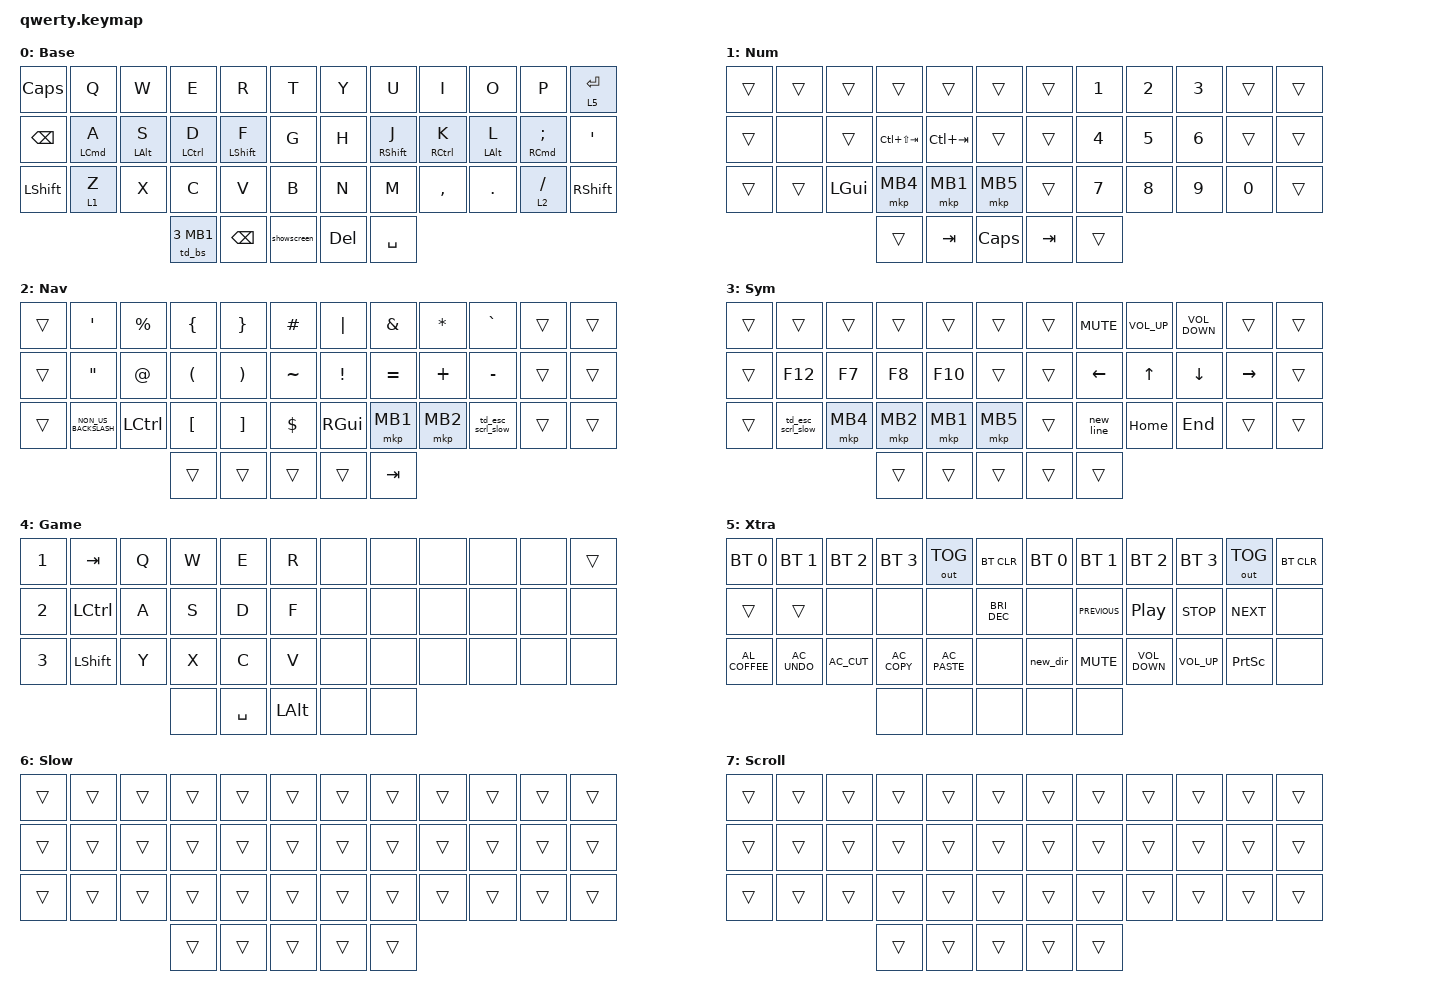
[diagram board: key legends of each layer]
/* upstream bindings and behaviors */
#include <behaviors.dtsi>
#include <dt-bindings/zmk/bt.h>
#include <dt-bindings/zmk/keys.h>
#include <dt-bindings/zmk/mouse.h>
#include <dt-bindings/zmk/outputs.h>
#include <behaviors/mouse_keys.dtsi>
#include <dt-bindings/zmk/ext_power.h>

/* local overlays */
#include "keymap_features/macros.dtsi"
#include "keymap_features/behaviors.dtsi"
#include "keymap_features/combos.dtsi"

/ {
/* --- KEYMAP CONFIG --- */
// ╭──────┬──────┬──────┬──────┬──────┬──────╮  ╭──────┬──────┬──────┬──────┬──────┬──────╮
//    00     01     02     03    04      05        06     07     08     09     10     11
// ├──────┼──────┼──────┼──────┼──────┼──────┤  ├──────┼──────┼──────┼──────┼──────┼──────┤
//    12     13     14     15    16      17        18     19     20     21     22     23
// ├──────┼──────┼──────┼──────┼──────┼──────┤  ├──────┼──────┼──────┼──────┼──────┼──────┤
//    24     25     26     27    28      29        30     31     32     33     34     35
// ╰──────┴──────┴──────┼──────┼──────┼──────┤  ├──────┼──────┼──────┴──────┴──────┴──────╯
//                         36     37     38        39     40
//                      ╰──────┴──────┴──────╯  ╰──────┴──────╯
// #define BASE    0
// #define NUM     1
// #define NAV     2
// #define SYM     3
// #define GAME    4
// #define EXTRAS  5
// #define SLOW    6
// #define SCROLL  7

    keymap {
        compatible = "zmk,keymap";
        BASE {
            display-name = "Base";
            bindings = <
// ╭───────────────┬────────────────┬────────────────┬─────────────────┬─────────────────┬──────╮  ╭──────┬──────────────────┬──────────────────┬─────────────────┬────────────────────────┬─────────────╮
    &kp CAPSLOCK &kp Q            &kp W            &kp E             &kp R             &kp T      &kp Y       &kp U               &kp I              &kp O               &kp P              &lt 5 ENTER
// ├───────────────┼────────────────┼────────────────┼─────────────────┼─────────────────┼──────┤  ├──────┼──────────────────┼──────────────────┼─────────────────┼────────────────────────┼─────────────┤
    &kp BACKSPACE   &ht_left LCMD A  &ht_left LALT S  &ht_left LCTRL D  &ht_left  LSHFT F  &kp G    &kp H   &ht_right RSHFT J  &ht_right RCTRL K  &ht_right LALT L  &ht_right RCMD SEMICOLON   &kp SQT
// ├───────────────┼────────────────┼────────────────┼─────────────────┼─────────────────┼──────┤  ├──────┼──────────────────┼──────────────────┼─────────────────┼────────────────────────┼─────────────┤
    &kp  LSHFT        &lt 1 Z           &kp X            &kp C            &kp V             &kp B    &kp N    &kp M              &kp COMMA    &kp PERIOD  &lt 2 SLASH            &kp RSHFT
// ╰───────────────┴────────────────┴────────────────┼─────────────────┼─────────────────┼──────┤  ├──────┼──────────────────┼──────────────────┴─────────────────┴────────────────────────┴─────────────╯
                                                             &td_bs 3 MB1 &kp BACKSPACE  &showscreen     &kp DELETE  &kp SPACE
                                                         // ╰──────────────────┴─────────┴──────╯  ╰──────────┴──────────────╯
            >;
        };

        NUM {
            display-name = "Num";
            bindings = <
    &trans    &trans  &trans        &trans           &trans        &trans         &trans   &kp NUMBER_1  &kp NUMBER_2  &kp NUMBER_3  &trans  &trans
    &trans    &none   &trans        &kp LC(LS(TAB))  &kp LC(TAB)   &trans         &trans   &kp NUMBER_4  &kp N5        &kp NUMBER_6  &trans  &trans
    &trans    &trans  &kp LEFT_GUI  &mkp MB4         &mkp MB1      &mkp MB5       &trans   &kp N7        &kp N8        &kp N9        &kp NUMBER_0  &trans
                                    &trans   &kp TAB       &kp CAPSLOCK           &kp TAB    &trans  
            >;
        };

        NAV {
            display-name = "Nav";
            bindings = <

     &trans   &kp SQT     &kp PERCENT  &kp LEFT_BRACE        &kp RIGHT_BRACE        &kp HASH                &kp PIPE         &kp AMPERSAND  &kp ASTERISK  &kp GRAVE      &trans  &trans
     &trans   &kp DQT     &kp AT_SIGN  &kp LEFT_PARENTHESIS  &kp RIGHT_PARENTHESIS  &kp TILDE               &kp EXCLAMATION  &kp EQUAL      &kp PLUS      &kp MINUS      &trans  &trans
     &trans   &kp NON_US_BACKSLASH  &kp LCTRL    &kp LEFT_BRACKET      &kp RIGHT_BRACKET    &kp DOLLAR      &kp RIGHT_GUI    &mkp MB1       &mkp MB2   &td_esc_scrl_slow &trans &trans
                                           &trans                &trans                 &trans              &trans  &kp TAB 
            >;
        };

        SYM {
            display-name = "Sym";
            bindings = <
     &trans  &trans   &trans  &trans  &trans   &trans      &trans  &kp K_MUTE  &kp C_VOLUME_UP  &kp C_VOLUME_DOWN  &trans   &trans
     &trans  &kp F12  &kp F7  &kp F8  &kp F10  &trans      &trans  &kp LEFT    &kp UP_ARROW     &kp DOWN_ARROW     &kp RIGHT  &trans
     &trans  &td_esc_scrl_slow  &mkp MB4    &mkp MB2  &mkp MB1  &mkp MB5      &trans  &new_line   &kp HOME         &kp END            &trans     &trans
                         &trans  &trans   &trans    &trans  &trans      
            >;
        };

        GAME {
            display-name = "Game";
            bindings = <
&kp N1  &kp TAB    &kp Q  &kp W   &kp E      &kp R           &none  &none  &none  &none  &none  &trans
&kp N2  &kp LCTRL  &kp A  &kp S   &kp D      &kp F           &none  &none  &none  &none  &none  &none
&kp N3  &kp LSHFT  &kp Y  &kp X   &kp C      &kp V           &none  &none  &none  &none  &none  &none
                          &none   &kp SPACE  &kp LEFT_ALT    &none  &none
            >;
        };

        EXTRAS {
            display-name = "Xtra";
            bindings = <
&bt BT_SEL 0  &bt BT_SEL 1    &bt BT_SEL 2       &bt BT_SEL 3  &out OUT_TOG         &bt BT_CLR    &bt BT_SEL 0  &bt BT_SEL 1    &bt BT_SEL 2       &bt BT_SEL 3  &out OUT_TOG         &bt BT_CLR
&trans       &trans           &none           &none           &none           &kp C_BRIGHTNESS_DEC    &none         &kp C_PREVIOUS  &kp C_PLAY_PAUSE   &kp C_STOP    &kp C_NEXT           &none
&kp C_AL_COFFEE   &kp C_AC_UNDO   &kp C_AC_CUT    &kp C_AC_COPY   &kp C_AC_PASTE  &none                   &new_dir      &kp K_MUTE      &kp C_VOLUME_DOWN  &kp C_VOLUME_UP   &kp PRINTSCREEN  &none
                                                                                   &none  &none  &none    &none         &none
            >;
        };

        SLOW {
            display-name = "Slow";
            bindings = <
&trans    &trans    &trans    &trans    &trans    &trans    &trans    &trans    &trans    &trans    &trans    &trans
&trans    &trans    &trans    &trans    &trans    &trans    &trans    &trans    &trans    &trans    &trans    &trans
&trans    &trans    &trans    &trans    &trans    &trans    &trans    &trans    &trans    &trans    &trans    &trans
                              &trans    &trans    &trans    &trans    &trans
            >;
        };

        SCROLL {
            display-name = "Scroll";
            bindings = <
&trans    &trans    &trans    &trans    &trans    &trans    &trans    &trans    &trans    &trans    &trans    &trans
&trans    &trans    &trans    &trans    &trans    &trans    &trans    &trans    &trans    &trans    &trans    &trans
&trans    &trans    &trans    &trans    &trans    &trans    &trans    &trans    &trans    &trans    &trans    &trans
                              &trans    &trans    &trans    &trans    &trans
            >;
        };
    };
};
